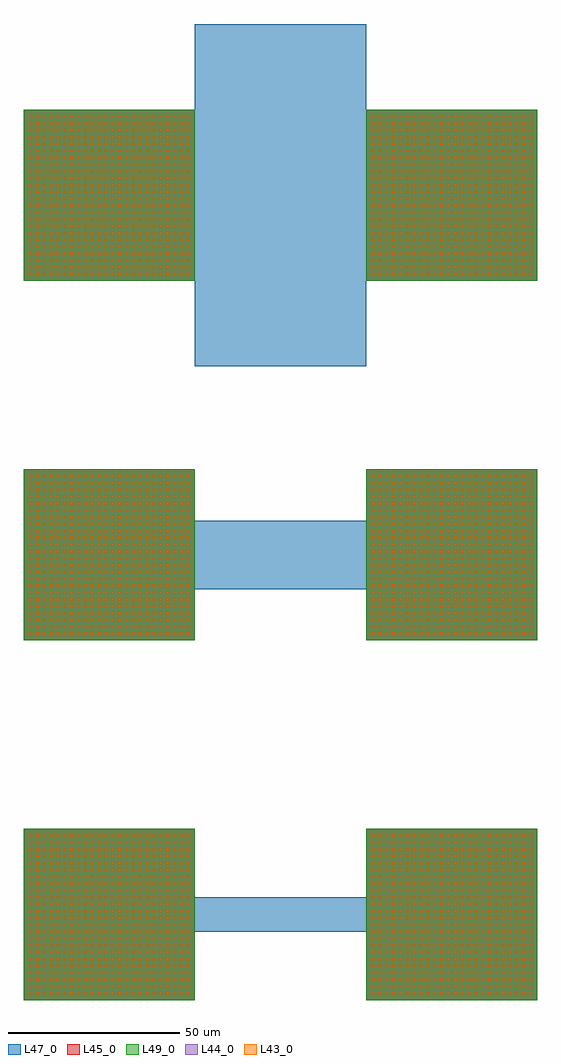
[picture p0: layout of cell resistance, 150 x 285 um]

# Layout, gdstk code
import gdstk
lib = gdstk.Library(unit=1e-6, precision=1e-09)
def R(c, l, rs):  # rectangles x0, y0, x1, y1
    for r in rs: c.add(gdstk.rectangle(r[:2], r[2:], *l))
L43_0 = (43, 0)
L44_0 = (44, 0)
L45_0 = (45, 0)
L47_0 = (47, 0)
L49_0 = (49, 0)

compass_gdsfactorypcompo = lib.new_cell('compass_gdsfactorypcomponentspshapespcompass_S50_50_LHE_0d3d3f5d')
R(compass_gdsfactorypcompo, L47_0, [(-25,-25,25,25)])

c_compass_gdsfactorypcompo = lib.new_cell('compass_gdsfactorypcomponentspshapespcompass_S50_50_LM2_1a56224f')
R(c_compass_gdsfactorypcompo, L45_0, [(-25,-25,25,25)])

c_compass_gdsfactorypcompo_ = lib.new_cell('compass_gdsfactorypcomponentspshapespcompass_S50_50_LM3_7e9c54cf')
R(c_compass_gdsfactorypcompo_, L49_0, [(-25,-25,25,25)])

via_gdsfactorypcomponent = lib.new_cell('via_gdsfactorypcomponentspviaspvia_S0p7_0p7_E1_LVIA1_BL_0068d91e')
R(via_gdsfactorypcomponent, L44_0, [(-0.35,-0.35,0.35,0.35)])

c_via_gdsfactorypcomponent = lib.new_cell('via_gdsfactorypcomponentspviaspvia_S0p7_0p7_E1_LVIA2_BL_c51b5ebb')
R(c_via_gdsfactorypcomponent, L43_0, [(-0.35,-0.35,0.35,0.35)])

via_stack_gdsfactorypcom = lib.new_cell('via_stack_gdsfactorypcomponentspviaspvia_stack_S50_50_L_9a4138d6')
via_stack_gdsfactorypcom.add(gdstk.Reference(compass_gdsfactorypcompo, (0,0)))
via_stack_gdsfactorypcom.add(gdstk.Reference(c_compass_gdsfactorypcompo, (0,0)))
via_stack_gdsfactorypcom.add(gdstk.Reference(c_compass_gdsfactorypcompo_, (0,0)))
r = gdstk.Reference(via_gdsfactorypcomponent, (-23,-23)); r.repetition = gdstk.Repetition(24, 24, v1=(2,0), v2=(0,2)); via_stack_gdsfactorypcom.add(r)
r = gdstk.Reference(c_via_gdsfactorypcomponent, (-23,-23)); r.repetition = gdstk.Repetition(24, 24, v1=(2,0), v2=(0,2)); via_stack_gdsfactorypcom.add(r)

c_compass_gdsfactorypcompo__ = lib.new_cell('compass_gdsfactorypcomponentspshapespcompass_S50_10_LHE_3ed28489')
R(c_compass_gdsfactorypcompo__, L47_0, [(-25,-5,25,5)])

resistance_sheet_w10 = lib.new_cell('resistance_sheet_W10')
resistance_sheet_w10.add(gdstk.Reference(via_stack_gdsfactorypcom, (-50,0)))
resistance_sheet_w10.add(gdstk.Reference(via_stack_gdsfactorypcom, (50,0)))
resistance_sheet_w10.add(gdstk.Reference(c_compass_gdsfactorypcompo__, (0,0)))

c_compass_gdsfactorypcompo___ = lib.new_cell('compass_gdsfactorypcomponentspshapespcompass_S50_20_LHE_88d643a3')
R(c_compass_gdsfactorypcompo___, L47_0, [(-25,-10,25,10)])

resistance_sheet_w20 = lib.new_cell('resistance_sheet_W20')
resistance_sheet_w20.add(gdstk.Reference(via_stack_gdsfactorypcom, (-50,0)))
resistance_sheet_w20.add(gdstk.Reference(via_stack_gdsfactorypcom, (50,0)))
resistance_sheet_w20.add(gdstk.Reference(c_compass_gdsfactorypcompo___, (0,0)))

c_compass_gdsfactorypcompo____ = lib.new_cell('compass_gdsfactorypcomponentspshapespcompass_S50_100_LH_eec47be9')
R(c_compass_gdsfactorypcompo____, L47_0, [(-25,-50,25,50)])

resistance_sheet_w100 = lib.new_cell('resistance_sheet_W100')
resistance_sheet_w100.add(gdstk.Reference(via_stack_gdsfactorypcom, (-50,0)))
resistance_sheet_w100.add(gdstk.Reference(via_stack_gdsfactorypcom, (50,0)))
resistance_sheet_w100.add(gdstk.Reference(c_compass_gdsfactorypcompo____, (0,0)))

resistance = lib.new_cell('resistance')
resistance.add(gdstk.Reference(resistance_sheet_w10, (0,52.5)))
resistance.add(gdstk.Reference(resistance_sheet_w20, (0,157.5)))
resistance.add(gdstk.Reference(resistance_sheet_w100, (0,262.5)))

lib.write_gds('resistance.gds')
